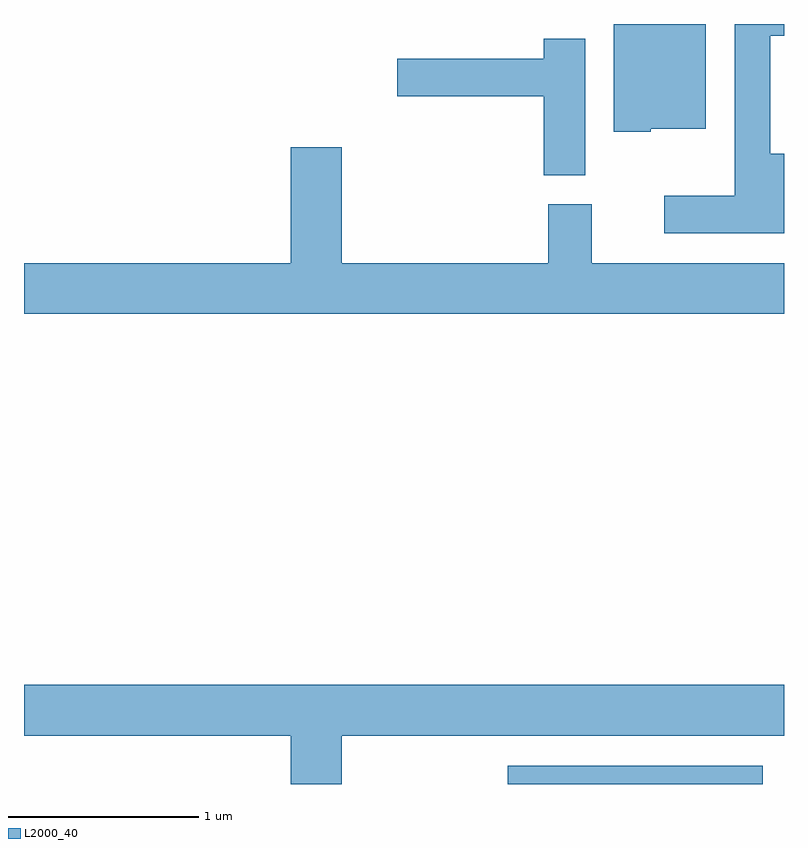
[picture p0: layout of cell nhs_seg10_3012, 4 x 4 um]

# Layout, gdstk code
import gdstk
lib = gdstk.Library(unit=1e-6, precision=1e-09)
def R(c, l, rs):  # rectangles x0, y0, x1, y1
    for r in rs: c.add(gdstk.rectangle(r[:2], r[2:], *l))
def P(c, l, *ps):  # polygons
    for p in ps: c.add(gdstk.Polygon(p, *l))
L2000_40 = (2000, 40)

nhs_seg10_3012 = lib.new_cell('nhs_seg10_3012')
R(nhs_seg10_3012, L2000_40, [(276.158,2142.522,277.499,2142.619)])
P(nhs_seg10_3012, L2000_40, [(276.91,2145.971),(277.199,2145.971),(277.199,2146.522),(276.716,2146.522),(276.716,2145.956),(276.91,2145.956)],
  [(277.611,2145.839),(277.539,2145.839),(277.539,2146.461),(277.611,2146.461),(277.611,2146.522),(277.351,2146.522),(277.351,2145.619),(276.981,2145.619),(276.981,2145.421),(277.611,2145.421)],
  [(276.564,2146.444),(276.346,2146.444),(276.346,2146.339),(275.576,2146.339),(275.576,2146.141),(276.346,2146.141),(276.346,2145.726),(276.564,2145.726)],
  [(277.611,2145.264),(276.599,2145.264),(276.599,2145.574),(276.371,2145.574),(276.371,2145.264),(275.284,2145.264),(275.284,2145.874),(275.016,2145.874),(275.016,2145.264),(273.611,2145.264),(273.611,2144.996),(277.611,2144.996)],
  [(275.284,2142.776),(277.611,2142.776),(277.611,2143.044),(273.611,2143.044),(273.611,2142.776),(275.016,2142.776),(275.016,2142.522),(275.284,2142.522)])

lib.write_gds('nhs_seg10_3012.gds')
